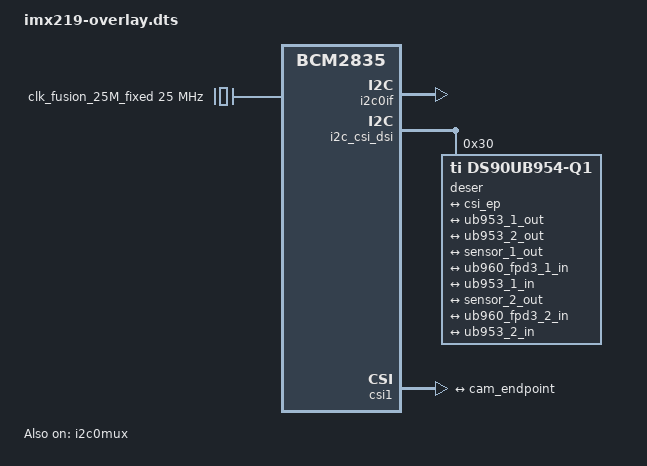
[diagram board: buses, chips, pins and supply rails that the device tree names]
// SPDX-License-Identifier: GPL-2.0-only
// Definitions for IMX219 camera module on VC I2C bus
/dts-v1/;
/plugin/;

#include <dt-bindings/gpio/gpio.h>

/{
	compatible = "brcm,bcm2835";

	fragment@0 {
		target = <&i2c0if>;
		__overlay__ {
			status = "okay";
		};
	};

	clk_frag: fragment@1 {
		target = <&cam1_clk>;
		__overlay__ {
			status = "okay";
			clock-frequency = <24000000>;
		};
	};

	fragment@2 {
		target = <&i2c0mux>;
		__overlay__ {
			status = "okay";
		};
	};

	fragment@3 {
		target-path = "/";
		__overlay__ {
			clk_fusion_25M_fixed: fixed-clock-25M {
				compatible = "fixed-clock";
				#clock-cells = <0>;
				clock-frequency = <25000000>;
			};
		};
	};

	i2c_frag: fragment@100 {
		target = <&i2c_csi_dsi>;
		__overlay__ {
			#address-cells = <1>;
			#size-cells = <0>;
			status = "okay";

                       deser@30 {
                                compatible = "ti,ds90ub954-q1";
                                reg = <0x30>;

                                clock-names = "refclk";
                                clocks = <&clk_fusion_25M_fixed>;

                                i2c-alias-pool = <0x4a 0x4b 0x4c 0x4d 0x4e 0x4f>;

                                ds90ub960_0_ports: ports {
                                        #address-cells = <1>;
                                        #size-cells = <0>;

                                        /* CSI-2 TX */
                                        port@2 {
                                                reg = <2>;
                                                cam_endpoint: endpoint {
                                                        data-lanes = <1 2 3 4>;
                                                        clock-lanes = <0>;
                                                        link-frequencies = /bits/ 64 <800000000>;
                                                        remote-endpoint = <&csi_ep>;
                                                };
                                        };

				        /* FPDLink RX 0 */
				        port@0 {
				                reg = <0>;

				                ub960_fpd3_1_in: endpoint {
				                        remote-endpoint = <&ub953_1_out>;
				                };
				        };
				        /* FPDLink RX 1 */
				        port@1 {
				                reg = <1>;

				                ub960_fpd3_2_in: endpoint {
				                        remote-endpoint = <&ub953_2_out>;
				                };
				        };
                                };

                                ds90ub960_0_links: links {
				        #address-cells = <1>;
				        #size-cells = <0>;

				       link@0 {
				                reg = <0>;
				                i2c-alias = <0x44>;

				                ti,rx-mode = <3>;

				                serializer1: serializer {
				                        compatible = "ti,ds90ub953-q1";
				                        gpio-controller;
				                        #gpio-cells = <2>;

				                        #clock-cells = <0>;

				                        ports {
				                                #address-cells = <1>;
				                                #size-cells = <0>;

				                                port@0 {
				                                        reg = <0>;
				                                        ub953_1_in: endpoint {
				                                                clock-lanes = <0>;
				                                                data-lanes = <1 2>;
				                                                remote-endpoint = <&sensor_1_out>;
				                                        };
				                                };

				                                port@1 {
				                                        reg = <1>;

				                                        ub953_1_out: endpoint {
				                                                remote-endpoint = <&ub960_fpd3_1_in>;
				                                        };
				                                };
				                        };

				                        i2c {
				                                #address-cells = <1>;
				                                #size-cells = <0>;

				                                sensor@10 {
				                                        compatible = "sony,imx219";
				                                        reg = <0x10>;

				                                        clocks = <&cam1_clk>;
				                                        clock-names = "xclk";
				                                        reset-gpios = <&serializer1 1 GPIO_ACTIVE_HIGH>;

									rotation = <180>;
									orientation = <2>;
				                                        port {
				                                                sensor_1_out: endpoint {
				                                                        remote-endpoint = <&ub953_1_in>;
				                                                        link-frequencies = /bits/ 64 <456000000>;
				                                                        clock-lanes = <0>;
				                                                        data-lanes = <1 2>;
				                                                };
				                                        };
				                                };
				                        };
		                                };
		                        };

				        link@1 {
				                reg = <1>;
				                i2c-alias = <0x45>;

				                ti,rx-mode = <3>;

				                serializer2: serializer {
				                        compatible = "ti,ds90ub953-q1";
				                        gpio-controller;
				                        #gpio-cells = <2>;

				                        #clock-cells = <0>;

				                        ports {
				                                #address-cells = <1>;
				                                #size-cells = <0>;

				                                port@0 {
				                                        reg = <0>;
				                                        ub953_2_in: endpoint {
				                                                clock-lanes = <0>;
				                                                data-lanes = <1 2>;
				                                                remote-endpoint = <&sensor_2_out>;
				                                        };
				                                };

				                                port@1 {
				                                        reg = <1>;

				                                        ub953_2_out: endpoint {
				                                                remote-endpoint = <&ub960_fpd3_2_in>;
				                                        };
				                                };
				                        };

				                        i2c {
				                                #address-cells = <1>;
				                                #size-cells = <0>;

				                                sensor@10 {
				                                        compatible = "sony,imx219";
				                                        reg = <0x10>;

				                                        clocks = <&cam1_clk>;
				                                        clock-names = "xclk";
				                                        reset-gpios = <&serializer2 1 GPIO_ACTIVE_HIGH>;

									rotation = <180>;
									orientation = <2>;
				                                        port {
				                                                sensor_2_out: endpoint {
				                                                        remote-endpoint = <&ub953_2_in>;
				                                                        link-frequencies = /bits/ 64 <456000000>;
				                                                        clock-lanes = <0>;
				                                                        data-lanes = <1 2>;
				                                                };
				                                        };
				                                };
				                        };
		                                };
		                        };
	                        };
                        };
		};
	};

	csi_frag: fragment@101 {
		target = <&csi1>;
		csi: __overlay__ {
			status = "okay";
			brcm,media-controller;

			port {
				csi_ep: endpoint {
					remote-endpoint = <&cam_endpoint>;
					clock-lanes = <0>;
					data-lanes = <1 2>;
					clock-noncontinuous;
				};
			};
		};
	};

	__overrides__ {
	};
};

